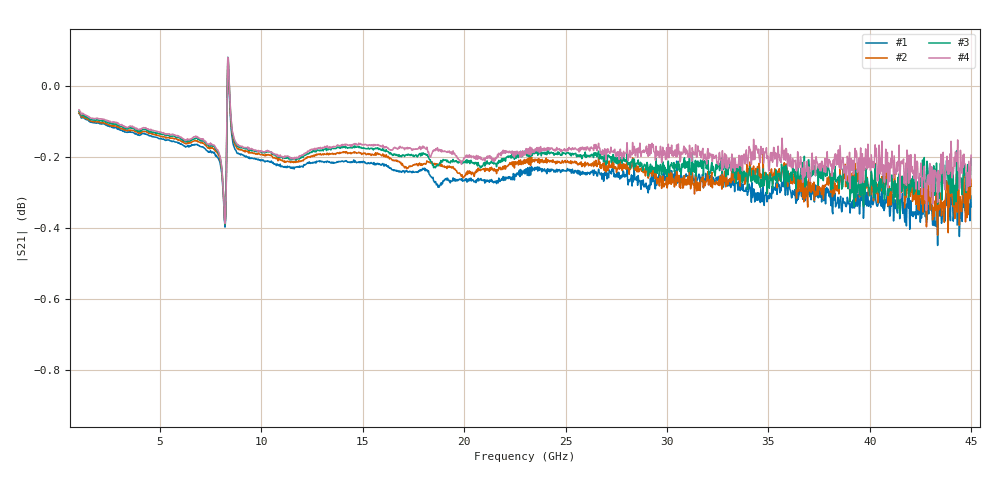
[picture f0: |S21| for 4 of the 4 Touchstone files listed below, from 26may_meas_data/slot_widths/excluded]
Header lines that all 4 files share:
!Keysight Technologies,N5247B,MY61255062,A.19.80.06
!Correction: S11(C  2-Port  )
!S21(C  2-Port  )
!S12(C  2-Port  )
!S22(C  2-Port  )
!S2P File: Measurements: S11, S21, S12, S22:
# Hz S  dB  R 50
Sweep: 1 GHz to 45 GHz
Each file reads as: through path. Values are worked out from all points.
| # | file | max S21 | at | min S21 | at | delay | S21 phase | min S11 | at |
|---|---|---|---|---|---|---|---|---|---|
| 1 | 17.5.s2p | 0.05 dB | 8.342 GHz | -0.4 dB | 43.35 GHz | 18.7 ps | -155 deg at 23 GHz | -64.5 dB | 28.42 GHz |
| 2 | 19.5.s2p | 0.07 dB | 8.342 GHz | -0.4 dB | 43.35 GHz | 18.8 ps | -156 deg at 23 GHz | -48.0 dB | 34.8 GHz |
| 3 | 21.5.s2p | 0.08 dB | 8.342 GHz | -0.4 dB | 8.205 GHz | 18.7 ps | -155 deg at 23 GHz | -62.6 dB | 29.43 GHz |
| 4 | 23.5.s2p | 0.08 dB | 8.342 GHz | -0.4 dB | 8.205 GHz | 18.6 ps | -154 deg at 23 GHz | -58.6 dB | 31.03 GHz |
